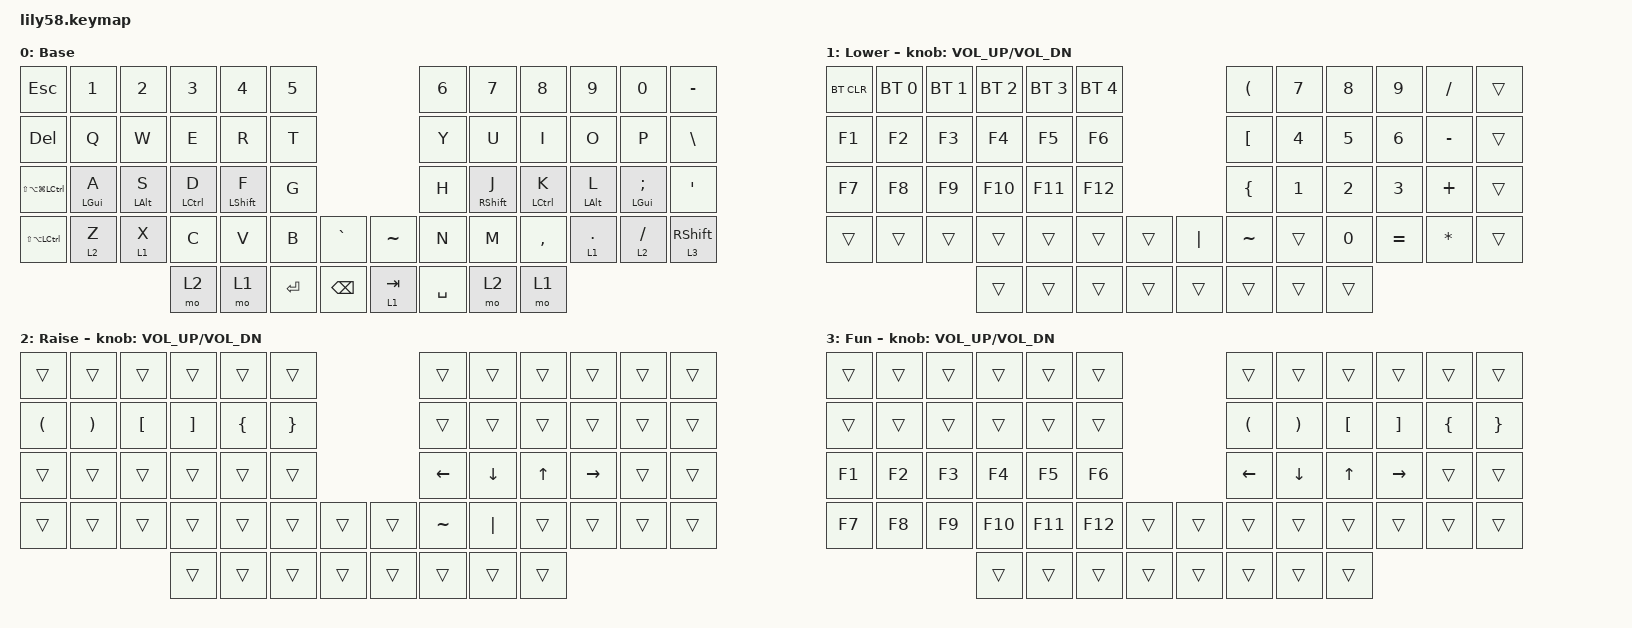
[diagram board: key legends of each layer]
// ZMK Config Lily58 Keymap
// Alan Chapman 2025-01-16

#include <behaviors.dtsi>
#include <dt-bindings/zmk/bt.h>
#include <dt-bindings/zmk/keys.h>
#include "modifiers.h"
#include "layers.h"

/ {
    behaviors {
        hm: homerow_mods {
            compatible = "zmk,behavior-hold-tap";
            label = "HMR";
            #binding-cells = <2>;
            tapping-term-ms = <175>;
            quick-tap-ms = <0>;
            flavor = "tap-preferred";
            bindings = <&kp>, <&kp>;
        };

        tm: thumb_mods {
            compatible = "zmk,behavior-hold-tap";
            label = "TM";
            bindings = <&mo>, <&kp>;

            #binding-cells = <2>;
            tapping-term-ms = <175>;
            flavor = "tap-preferred";
        };
    };

    keymap {
        compatible = "zmk,keymap";

        default_layer {
            // ------------------------------------------------------------------------------------------------------------
            // |  ESC  |  1  |  2  |  3    |  4     |  5   |                   |  6    |  7    |  8    |  9   |   0   |   -   |
            // |  DEL  |  Q  |  W  |  E    |  R     |  T   |                   |  Y    |  U    |  I    |  O   |   P   |   \   |
            // | HYPER |  A  |  S  |  D    |  F     |  G   |                   |  H    |  J    |  K    |  L   |   ;   |   '   |
            // |  MEH  |  Z  |  X  |  C    |  V     |  B   |  RAY  |  | SEEK   |  N    |  M    |  ,    |  .   |   /   | SHIFT |
            //                     | RAISE | LOWER  | RET  |  BKSP |  | TAB    | SPACE | RAISE | GUI   |

            display-name = "Base";
            bindings = <
&kp ESC                       &kp N1      &kp N2      &kp N3       &kp N4       &kp N5                               &kp N6     &kp N7       &kp N8       &kp N9        &kp N0         &kp MINUS
&kp DEL                       &kp Q       &kp W       &kp E        &kp R        &kp T                                &kp Y      &kp U        &kp I        &kp O         &kp P          &kp BSLH
&kp LS(LA(LG(LEFT_CONTROL)))  &hm LGUI A  &hm LALT S  &hm LCTRL D  &hm LSHFT F  &kp G                                &kp H      &hm RSHFT J  &hm LCTRL K  &hm LALT L    &hm LGUI SEMI  &kp SQT
&kp LS(LA(LEFT_CONTROL))      &lt 2 Z     &lt 1 X     &kp C        &kp V        &kp B    &kp GRAVE        &kp TILDE  &kp N      &kp M        &kp COMMA    &lt 1 PERIOD  &lt 2 SLASH    &lt 3 RIGHT_SHIFT
                                                      &mo 2        &mo 1        &kp RET  &kp BACKSPACE    &tm 1 TAB  &kp SPACE  &mo 2        &mo 1
            >;
        };

        lower_layer {
            // ------------------------------------------------------------------------------------------------------------
            // | BTCLR | BT1 | BT2 |  BT3 |  BT4 |  BT5 |                   |   (  |   7   |  8    |   9  |   /   |       |
            // |  F1   |  F2 |  F3 |  F4  |  F5  |  F6  |                   |   {  |   4   |  5    |   6  |   -   |       |
            // |  F7   |  F8 |  F9 |  F10 |  F11 |  F12 |                   |   [  |   1   |  2    |   3  |   +   |       |
            // |       |     |     |      |      |      |        |  |   |   |   ~  |       |  0    |   =  |   *   |       |
            //                     |      |      |      |        |  |       |      |       |       |

            display-name = "Lower";
            bindings = <
&bt BT_CLR  &bt BT_SEL 0  &bt BT_SEL 1  &bt BT_SEL 2  &bt BT_SEL 3  &bt BT_SEL 4                      &kp LPAR   &kp N7  &kp N8  &kp N9     &kp FSLH   &trans
&kp F1      &kp F2        &kp F3        &kp F4        &kp F5        &kp F6                            &kp LBKT   &kp N4  &kp N5  &kp N6     &kp MINUS  &trans
&kp F7      &kp F8        &kp F9        &kp F10       &kp F11       &kp F12                           &kp LBRC   &kp N1  &kp N2  &kp N3     &kp PLUS   &trans
&trans      &trans        &trans        &trans        &trans        &trans        &trans    &kp PIPE  &kp TILDE  &trans  &kp N0  &kp EQUAL  &kp ASTRK  &trans
                                        &trans        &trans        &trans        &trans    &trans    &trans     &trans  &trans
            >;

            sensor-bindings = <&inc_dec_kp C_VOL_UP C_VOL_DN>;
        };

        raise_layer {
            // ------------------------------------------------------------------------------------------------------------
            // |      |       |       |      |       |       |                   |      |       |       |      |       |       |
            // |  (   |   )   |   [   |  ]   |   {   |   }   |                   |      |       |       |      |       |       |
            // |      |       |       |      |    ~  |       |                   |  <-  |   v   |   ^   |  ->  |       |       |
            // |      |       |       |      |       |       |        |  |       |   ~  |   |   |       |      |       |       |
            //                        |      |       |       |        |  |       |      |       |       |

            display-name = "Raise";
            bindings = <
&trans    &trans    &trans    &trans    &trans    &trans                      &trans     &trans    &trans  &trans     &trans  &trans
&kp LPAR  &kp RPAR  &kp LBKT  &kp RBKT  &kp LBRC  &kp RBRC                    &trans     &trans    &trans  &trans     &trans  &trans
&trans    &trans    &trans    &trans    &trans    &trans                      &kp LEFT   &kp DOWN  &kp UP  &kp RIGHT  &trans  &trans
&trans    &trans    &trans    &trans    &trans    &trans    &trans    &trans  &kp TILDE  &kp PIPE  &trans  &trans     &trans  &trans
                              &trans    &trans    &trans    &trans    &trans  &trans     &trans    &trans
            >;

            sensor-bindings = <&inc_dec_kp C_VOL_UP C_VOL_DN>;
        };

        fun_layer {
            // ------------------------------------------------------------------------------------------------------------
            // |       |     |     |      |      |      |                   |      |       |       |      |       |       |
            // |   `   |  1  |  2  |  3   |  4   |  5   |                   |  6   |   7   |   8   |  9   |   0   |       |
            // |   F1  |  F2 |  F3 |  F4  |  F5  |  F6  |                   |  <-  |   v   |   ^   |  ->  |       |       |
            // |   F7  |  F8 |  F9 |  F10 |  F11 |  F12 |        |  |       |  +   |   -   |   =   |  [   |   ]   |   \   |
            //                     |      |      |      |        |  |       |      |       |       |

            display-name = "Fun";
            bindings = <
&trans  &trans  &trans  &trans   &trans   &trans                     &trans    &trans    &trans    &trans     &trans    &trans
&trans  &trans  &trans  &trans   &trans   &trans                     &kp LPAR  &kp RPAR  &kp LBKT  &kp RBKT   &kp LBRC  &kp RBRC
&kp F1  &kp F2  &kp F3  &kp F4   &kp F5   &kp F6                     &kp LEFT  &kp DOWN  &kp UP    &kp RIGHT  &trans    &trans
&kp F7  &kp F8  &kp F9  &kp F10  &kp F11  &kp F12  &trans    &trans  &trans    &trans    &trans    &trans     &trans    &trans
                        &trans   &trans   &trans   &trans    &trans  &trans    &trans    &trans
            >;

            sensor-bindings = <&inc_dec_kp C_VOL_UP C_VOL_DN>;
        };

        extra_2 { status = "reserved"; };

        extra_3 { status = "reserved"; };
    };
};
